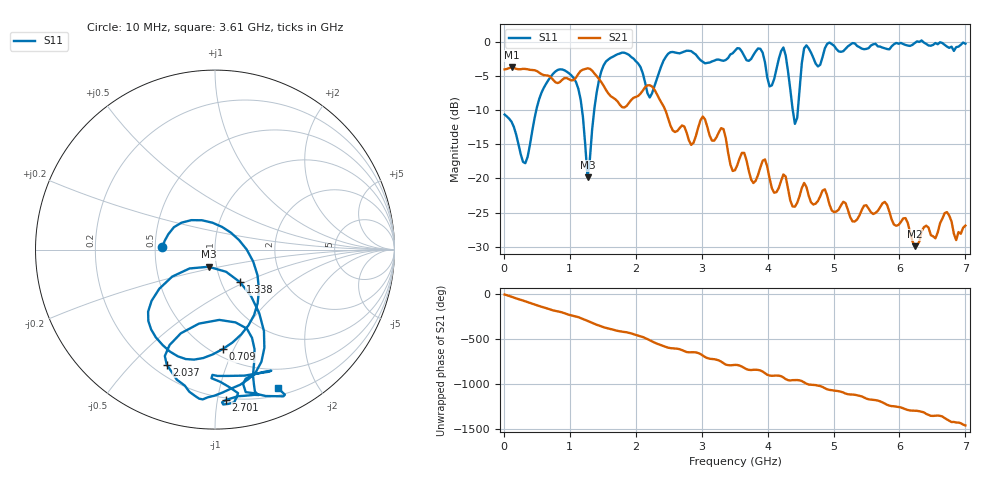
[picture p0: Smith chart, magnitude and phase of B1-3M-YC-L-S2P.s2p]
!File created by NanoVNA
# Hz S RI R 50
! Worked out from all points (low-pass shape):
!   201 points, 10 MHz to 7 GHz, reference 50 ohm
!   highest |S21| = -3.71 dB at 114.8 MHz (marker M1); lowest = -29.9 dB at 6.231 GHz (marker M2)
!   |S21| within 3 dB of the highest: start of sweep to 1.53 GHz; 2.135 GHz to 2.262 GHz (127.2 MHz wide, 5.78 % of centre)
!   lowest |S11| = -19.8 dB at 1.268 GHz (marker M3), VSWR 1.23, Z = 45.7 - j8.84 ohm
!   |S11| at or under -10 dB: start of sweep to 490.2 MHz; 1.185 GHz to 1.369 GHz (184.4 MHz wide, 14.4 % of centre); 4.382 GHz to 4.458 GHz (76.55 MHz wide, 1.73 % of centre)
!   S12 and S22 are empty: the file has one direction only
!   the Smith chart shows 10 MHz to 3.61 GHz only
!   S11 on the Smith chart (normalised r, x): 10 MHz: 0.55, +0.02; 709 MHz: 0.56, -0.91; 1.338 GHz: 1.23, -0.47; 2.037 GHz: 0.26, -0.63; 2.701 GHz: 0.19, -1.06; 3.61 GHz: 0.27, -1.52
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1e7  -0.2938 0.0135  0.6291 -0.0328  0 0  0 0
1.1485e8  -0.2287 0.125  0.5757 -0.3067  0 0  0 0
3.9445e8  0.1767 0.000244  -0.0639 -0.6228  0 0  0 0
7.09e8  0.0428 -0.5542  -0.5471 -0.0831  0 0  0 0
1.1983e9  -0.2386 -0.1505  0.0615 0.6251  0 0  0 0
1.2682e9  -0.0356 -0.0956  0.291 0.5719  0 0  0 0
1.3381e9  0.1401 -0.1818  0.4723 0.3965  0 0  0 0
1.6177e9  0.14 -0.7533  0.3572 -0.1848  0 0  0 0
2.0371e9  -0.2689 -0.6409  -0.0755 -0.3961  0 0  0 0
2.35165e9  0.2202 -0.5545  -0.3669 0.1248  0 0  0 0
2.70115e9  0.0623 -0.8374  -0.0337 0.2425  0 0  0 0
3.505e9  0.2829 -0.8158  0.0446 -0.1059  0 0  0 0
3.60985e9  0.3532 -0.7737  0.0105 -0.1537  0 0  0 0
4.0642e9  -0.0581 -0.4779  -0.084 0.0127  0 0  0 0
4.23895e9  0.5436 -0.7328  -0.0957 0.0479  0 0  0 0
4.4137e9  0.2419 -0.0678  -0.0348 0.0515  0 0  0 0
4.58845e9  0.6493 -0.6881  0.00984 0.0862  0 0  0 0
4.6933e9  0.7385 -0.2038  0.0221 0.0605  0 0  0 0
4.903e9  0.7171 -0.6532  0.0699 0.0271  0 0  0 0
5.84665e9  0.827 -0.3139  -0.0539 -0.0186  0 0  0 0
6.2311e9  0.924 -0.3383  -0.0255 0.0191  0 0  0 0
7e9  0.9724 -0.0254  0.0418 -0.017  0 0  0 0
